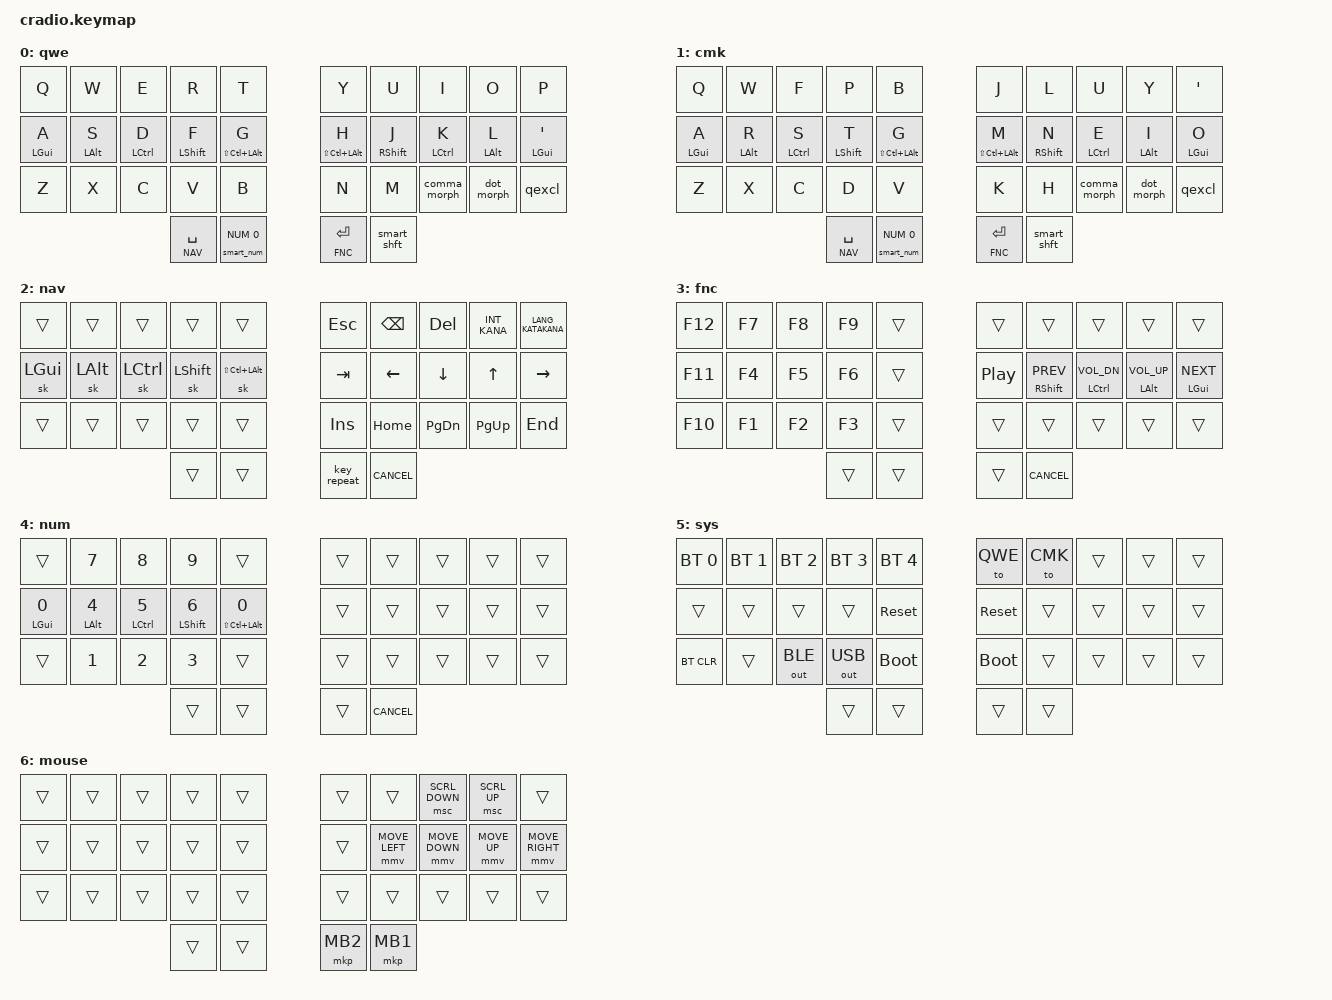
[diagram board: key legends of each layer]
// Copyright (c) 2022 The ZMK Contributors
// SPDX-License-Identifier: MIT

#include <behaviors.dtsi>
#include <dt-bindings/zmk/keys.h>
#include <dt-bindings/zmk/bt.h>
#include <dt-bindings/zmk/mouse.h>
#include <dt-bindings/zmk/outputs.h>
#include "../zmk-nodefree-config/helper.h"
#include "../zmk-nodefree-config/keypos_def/keypos_34keys.h"

/* Global settings */

#define QWE 0
#define CMK 1
#define NAV 2
#define FNC 3
#define NUM 4
#define SYS 5
#define MSE 6

#define XXX &none
#define ___ &trans

#define KEYS_L LT0 LT1 LT2 LT3 LT4 LM0 LM1 LM2 LM3 LM4 LB0 LB1 LB2 LB3 LB4  // left hand
#define KEYS_R RT0 RT1 RT2 RT3 RT4 RM0 RM1 RM2 RM3 RM4 RB0 RB1 RB2 RB3 RB4  // right hand
#define THUMBS LH1 LH0 RH0 RH1                                              // thumbs

#define QUICK_TAP_MS 175
#define MEH LS(LC(LALT))
#define KANA INT_KANA
#define KATA LANG_KATAKANA

&sk {  // sticky-key config
    release-after-ms = <900>;  // release after 0.6s
    quick-release;             // no double capitalization when rolling keys
};

&sl {  // sticky-layer config
    ignore-modifiers;          // allow chording sticky mods & layers
};

&lt {  // layer-tap config
    flavor = "balanced";
    tapping-term-ms = <200>;
    quick-tap-ms = <QUICK_TAP_MS>;
};

/* Homerow mods */

#define MAKE_HRM(NAME, HOLD, TAP, TRIGGER_POS) \
  ZMK_BEHAVIOR(NAME, hold_tap, \
      flavor = "balanced"; \
      tapping-term-ms = <280>; \
      quick-tap-ms = <QUICK_TAP_MS>; \
      require-prior-idle-ms = <150>; \
      bindings = <HOLD>, <TAP>; \
      hold-trigger-key-positions = <TRIGGER_POS>; \
      hold-trigger-on-release; \
      )
MAKE_HRM(hml, &kp, &kp, KEYS_R THUMBS)  // left-hand HRMs
MAKE_HRM(hmr, &kp, &kp, KEYS_L THUMBS)  // right-hand HRMs

/* Caps-word, num-word and smart-mouse */

// tap: sticky-shift | shift + tap/ double-tap: caps-word | hold: shift
ZMK_BEHAVIOR(smart_shft, mod_morph,
    bindings = <&sk LSHFT>, <&caps_word>;
    mods = <(MOD_LSFT)>;
)
&caps_word {  // mods deactivate caps-word, requires PR #1451
    /delete-property/ ignore-modifiers;
};

// tap: num-word | double-tap: sticky num-layer | hold: num-layer
#define SMART_NUM &smart_num NUM 0
ZMK_BEHAVIOR(smart_num, hold_tap,
    flavor = "balanced";
    tapping-term-ms = <200>;
    quick-tap-ms = <QUICK_TAP_MS>;
    bindings = <&mo>, <&num_dance>;
)
ZMK_BEHAVIOR(num_dance, tap_dance,
    tapping-term-ms = <200>;
    bindings = <&num_word>, <&sl NUM>;  // reverse this for sticky-num on single tap
)
&num_word {  // num-word, requires PR #1451
    layers = <NUM>;
    continue-list = <BSPC DEL DOT COMMA PLUS MINUS STAR FSLH EQUAL>;
};

// smart-mouse, requires PR #1366
ZMK_BEHAVIOR(smart_mouse, tri_state,
    bindings = <&tog MSE>, <&none>, <&tog MSE>;
    ignored-key-positions = <LT1 LT2 RT2 RT3 RM1 RM2 RM3 RM4 RH0 RH1>;
    ignored-layers = <MSE>;
)

/* Custom behaviors */

// tap: comma | shift + tap: semicolon | ctrl + shift + tap: <
ZMK_BEHAVIOR(comma_morph, mod_morph,
    mods = <(MOD_LSFT|MOD_RSFT)>;
    bindings = <&kp COMMA>, <&comma_inner_morph>;
)
ZMK_BEHAVIOR(comma_inner_morph, mod_morph,
    bindings = <&kp SEMICOLON>, <&kp LESS_THAN>;
    mods = <(MOD_LCTL|MOD_RCTL)>;
)

// tap: dot | shift + tap: colon | ctrl + shift + tap: >
ZMK_BEHAVIOR(dot_morph, mod_morph,
    bindings = <&kp DOT>, <&dot_inner_morph>;
    mods = <(MOD_LSFT|MOD_RSFT)>;
)
ZMK_BEHAVIOR(dot_inner_morph, mod_morph,
    bindings = <&kp COLON>, <&kp GREATER_THAN>;
    mods = <(MOD_LCTL|MOD_RCTL)>;
)

// tap: qmark | shift + tap: excl
ZMK_BEHAVIOR(qexcl, mod_morph,
    bindings = <&kp QMARK>, <&kp EXCL>;
    mods = <(MOD_LSFT|MOD_RSFT)>;
)

// tap: backspace | lshft + tap: delete | rshft + tap: shift-delete
ZMK_BEHAVIOR(bs_del, mod_morph,
    bindings = <&kp BSPC>, <&kp DEL>;
    mods = <(MOD_LSFT|MOD_RSFT)>;
    keep-mods = <MOD_RSFT>;
)

// tap: left-parenthesis | shft + tap: less-than
ZMK_BEHAVIOR(lpar_lt, mod_morph,
    bindings = <&kp LPAR>, <&kp LT>;
    mods = <(MOD_LSFT|MOD_RSFT)>;
)

// tap: right-parenthesis | shft + tap: greater-than
ZMK_BEHAVIOR(rpar_gt, mod_morph,
    bindings = <&kp RPAR>, <&kp GT>;
    mods = <(MOD_LSFT|MOD_RSFT)>;
)

// tap: copy | double-tap: cut
ZMK_BEHAVIOR(copy_cut, tap_dance,
    tapping-term-ms = <200>;
    bindings = <&kp LC(INS)>, <&kp LC(X)>;
)


// misc aliases
#define CANCEL      &kp K_CANCEL             // cancel caps-word, num-word and smart-mouse
#define PREV        &hmr RSHFT C_PREV
#define NEXT        &hmr LGUI  C_NEXT
#define VOL_DOWN    &hmr LCTRL C_VOL_DN
#define VOL_UP      &hmr LALT  C_VOL_UP

/* Mouse */

&mmv {
  acceleration-exponent = <1>;      // 1
  time-to-max-speed-ms = <1500>;    // 40
  delay-ms = <0>;                   // 0
};

&msc {
  acceleration-exponent = <1>;      // 0
  time-to-max-speed-ms = <5000>;    // 40
  delay-ms = <0>;                   // 10
};

#define ZMK_MOUSE_DEFAULT_MOVE_VAL 1250  // 600
#define ZMK_MOUSE_DEFAULT_SCRL_VAL 100    // 10

#define U_BTN1 &mkp MB1
#define U_BTN2 &mkp MB2
#define U_BTN3 &mkp MB3
#define U_MS_U &mmv MOVE_UP
#define U_MS_D &mmv MOVE_DOWN
#define U_MS_L &mmv MOVE_LEFT
#define U_MS_R &mmv MOVE_RIGHT
#define U_WH_U &msc SCRL_UP
#define U_WH_D &msc SCRL_DOWN
#define U_WH_L &msc SCRL_LEFT
#define U_WH_R &msc SCRL_RIGHT

/* Combos */

/*                KEY POSITIONS

  ╭─────────────────────╮ ╭─────────────────────╮
  │ LT4 LT3 LT2 LT1 LT0 │ │ RT0 RT1 RT2 RT3 RT4 │
  │ LM4 LM3 LM2 LM1 LM0 │ │ RM0 RM1 RM2 RM3 RM4 │
  │ LB4 LB3 LB2 LB1 LB0 │ │ RB0 RB1 RB2 RB3 RB4 │
  ╰───────────╮ LH1 LH0 │ │ RH0 RH1 ╭───────────╯
              ╰─────────╯ ╰─────────╯ */

// use require-prior-idle-ms for combos (requires PR 1387)
#undef COMBO_HOOK
#define COMBO_HOOK require-prior-idle-ms = <150>;

#define COMBO_TERM_FAST 30
#define COMBO_TERM_SLOW 30

// make homerow combos tap-only (so HRMs can be chorded instantaneously)
#define HRC_TAB    &hml         LA(LCTRL) TAB
#define HRC_REPEAT &hml_repeat  LS(LCTRL) 0
#define HRC_LPAR   &hmr_lpar_lt RS(LCTRL) 0
#define HRC_RPAR   &hmr_rpar_gt LA(LCTRL) 0
MAKE_HRM(hml_repeat, &kp, &key_repeat, KEYS_R THUMBS)  // used for HRM-combo
MAKE_HRM(hmr_lpar_lt, &kp, &lpar_lt, KEYS_L THUMBS)    // "    "   "   "
MAKE_HRM(hmr_rpar_gt, &kp, &rpar_gt, KEYS_L THUMBS)    // "    "   "   "

/* Horizontal combos - left hand */
ZMK_COMBO(esc,   &kp ESC,       LT3 LT2,     QWE CMK NAV NUM, COMBO_TERM_FAST)
ZMK_COMBO(mouse, &smart_mouse,  LT2 LT1,     QWE CMK NAV NUM, COMBO_TERM_FAST)
//ZMK_COMBO(mouse, &smart_mouse,  LT3 LT1,     QWE CMK NAV NUM, COMBO_TERM_FAST)

ZMK_COMBO(tab,   HRC_TAB,       LM3 LM2,     QWE CMK NAV NUM, COMBO_TERM_FAST)
ZMK_COMBO(repeat,HRC_REPEAT,    LM2 LM1,     QWE CMK NAV NUM, COMBO_TERM_FAST)

ZMK_COMBO(cut,   &kp LC(X),     LB3 LB1,     QWE CMK NAV NUM, COMBO_TERM_FAST)
ZMK_COMBO(copy,  &kp LC(INS),   LB3 LB2,     QWE CMK NAV NUM, COMBO_TERM_FAST)
ZMK_COMBO(paste, &kp LS(INS),   LB2 LB1,     QWE CMK NAV NUM, COMBO_TERM_FAST)

/* Horizontal combos - right hand */
ZMK_COMBO(bspc,  &kp BSPC,      RT1 RT2,     QWE CMK NAV NUM, COMBO_TERM_FAST)
ZMK_COMBO(del,   &kp DEL,       RT2 RT3,     QWE CMK NAV NUM, COMBO_TERM_FAST)

ZMK_COMBO(lpar,  HRC_LPAR,      RM1 RM2,     QWE CMK     NUM, COMBO_TERM_FAST)
ZMK_COMBO(rpar,  HRC_RPAR,      RM2 RM3,     QWE CMK     NUM, COMBO_TERM_FAST)
ZMK_COMBO(lt,    &kp LT,        RM1 RM2,             NAV    , COMBO_TERM_FAST)
ZMK_COMBO(gt,    &kp GT,        RM2 RM3,             NAV    , COMBO_TERM_FAST)

ZMK_COMBO(lbkt,  &kp LBKT,      RB1 RB2,     QWE CMK     NUM, COMBO_TERM_FAST)
ZMK_COMBO(rbkt,  &kp RBKT,      RB2 RB3,     QWE CMK     NUM, COMBO_TERM_FAST)
ZMK_COMBO(lbrc,  &kp LBRC,      RB1 RB2,             NAV    , COMBO_TERM_FAST)
ZMK_COMBO(rbrc,  &kp RBRC,      RB2 RB3,             NAV    , COMBO_TERM_FAST)

/* Vertical combos - left hand */
ZMK_COMBO(at,    &kp AT,        LT3 LM3,     QWE CMK NAV NUM, COMBO_TERM_SLOW)
ZMK_COMBO(hash,  &kp HASH,      LT2 LM2,     QWE CMK NAV NUM, COMBO_TERM_SLOW)
ZMK_COMBO(dllr,  &kp DLLR,      LT1 LM1,     QWE CMK NAV NUM, COMBO_TERM_SLOW)
ZMK_COMBO(prcnt, &kp PRCNT,     LT0 LM0,     QWE CMK NAV NUM, COMBO_TERM_SLOW)

ZMK_COMBO(grave, &kp GRAVE,     LM3 LB3,     QWE CMK NAV NUM, COMBO_TERM_SLOW)
ZMK_COMBO(bslh,  &kp BSLH,      LM2 LB2,     QWE CMK NAV NUM, COMBO_TERM_SLOW)
ZMK_COMBO(equal, &kp EQUAL,     LM1 LB1,     QWE CMK NAV NUM, COMBO_TERM_SLOW)
ZMK_COMBO(tilde, &kp TILDE,     LM0 LB0,     QWE CMK NAV NUM, COMBO_TERM_SLOW)

/* Vertical combos - right hand */
ZMK_COMBO(caret, &kp CARET,     RT0 RM0,     QWE CMK NAV NUM, COMBO_TERM_SLOW)
ZMK_COMBO(plus,  &kp PLUS,      RT1 RM1,     QWE CMK NAV NUM, COMBO_TERM_SLOW)
ZMK_COMBO(star,  &kp STAR,      RT2 RM2,     QWE CMK NAV NUM, COMBO_TERM_SLOW)
ZMK_COMBO(amps,  &kp AMPS,      RT3 RM3,     QWE CMK NAV NUM, COMBO_TERM_SLOW)

ZMK_COMBO(under, &kp UNDER,     RM0 RB0,     QWE CMK NAV NUM, COMBO_TERM_SLOW)
ZMK_COMBO(minus, &kp MINUS,     RM1 RB1,     QWE CMK NAV NUM, COMBO_TERM_SLOW)
ZMK_COMBO(fslh,  &kp FSLH,      RM2 RB2,     QWE CMK NAV NUM, COMBO_TERM_SLOW)
ZMK_COMBO(pipe,  &kp PIPE,      RM3 RB3,     QWE CMK NAV NUM, COMBO_TERM_SLOW)

/* Keymap */

ZMK_CONDITIONAL_LAYER(FNC NUM, SYS)  // FN + NUM --> SYS

ZMK_LAYER(qwe,
//╭─────────────┬─────────────┬─────────────┬─────────────┬─────────────╮ ╭─────────────┬─────────────┬─────────────┬─────────────┬─────────────╮
    &kp Q         &kp W         &kp E         &kp R         &kp T           &kp Y         &kp U         &kp I         &kp O         &kp P        
//├─────────────┼─────────────┼─────────────┼─────────────┼─────────────┤ ├─────────────┼─────────────┼─────────────┼─────────────┼─────────────┤
    &hml LGUI A   &hml LALT S   &hml LCTRL D  &hml LSHFT F  &hml MEH G      &hmr MEH H    &hmr RSHFT J  &hmr LCTRL K  &hmr LALT L   &hmr LGUI SQT
//├─────────────┼─────────────┼─────────────┼─────────────┼─────────────┤ ├─────────────┼─────────────┼─────────────┼─────────────┼─────────────┤
    &kp Z         &kp X         &kp C         &kp V         &kp B           &kp N         &kp M         &comma_morph  &dot_morph    &qexcl       
//╰─────────────┼─────────────┴─────────────┼─────────────┼─────────────┤ ├─────────────┼─────────────┼─────────────┴───────────────────────────╯
                                              &lt NAV SPACE SMART_NUM       &lt FNC RET   &smart_shft                                            
//                                          ╰─────────────┴─────────────╯ ╰─────────────┴─────────────╯                                          
)

ZMK_LAYER(cmk,
//╭─────────────┬─────────────┬─────────────┬─────────────┬─────────────╮ ╭─────────────┬─────────────┬─────────────┬─────────────┬─────────────╮
    &kp Q         &kp W         &kp F         &kp P         &kp B           &kp J         &kp L         &kp U         &kp Y         &kp SQT      
//├─────────────┼─────────────┼─────────────┼─────────────┼─────────────┤ ├─────────────┼─────────────┼─────────────┼─────────────┼─────────────┤
    &hml LGUI A   &hml LALT R   &hml LCTRL S  &hml LSHFT T  &hml MEH G      &hmr MEH M    &hmr RSHFT N  &hmr LCTRL E  &hmr LALT I   &hmr LGUI O  
//├─────────────┼─────────────┼─────────────┼─────────────┼─────────────┤ ├─────────────┼─────────────┼─────────────┼─────────────┼─────────────┤
    &kp Z         &kp X         &kp C         &kp D         &kp V           &kp K         &kp H         &comma_morph  &dot_morph    &qexcl       
//╰─────────────┼─────────────┴─────────────┼─────────────┼─────────────┤ ├─────────────┼─────────────┼─────────────┴───────────────────────────╯
                                              &lt NAV SPACE SMART_NUM       &lt FNC RET   &smart_shft                                            
//                                          ╰─────────────┴─────────────╯ ╰─────────────┴─────────────╯                                          
)

ZMK_LAYER(nav,
//╭─────────────┬─────────────┬─────────────┬─────────────┬─────────────╮ ╭─────────────┬─────────────┬─────────────┬─────────────┬─────────────╮
    ___           ___           ___           ___           ___             &kp ESC       &kp BSPC      &kp DEL       &kp KANA      &kp KATA     
//├─────────────┼─────────────┼─────────────┼─────────────┼─────────────┤ ├─────────────┼─────────────┼─────────────┼─────────────┼─────────────┤
    &sk LGUI      &sk LALT      &sk LCTRL     &sk LSHFT     &sk MEH         &kp TAB       &kp LEFT      &kp DOWN      &kp UP        &kp RIGHT    
//├─────────────┼─────────────┼─────────────┼─────────────┼─────────────┤ ├─────────────┼─────────────┼─────────────┼─────────────┼─────────────┤
    ___           ___           ___           ___           ___             &kp INS       &kp HOME      &kp PG_DN     &kp PG_UP     &kp END      
//╰─────────────┼─────────────┴─────────────┼─────────────┼─────────────┤ ├─────────────┼─────────────┼─────────────┴───────────────────────────╯
                                              ___           ___             &key_repeat   CANCEL                                                 
//                                          ╰─────────────┴─────────────╯ ╰─────────────┴─────────────╯                                          
)

ZMK_LAYER(fnc,
//╭─────────────┬─────────────┬─────────────┬─────────────┬─────────────╮ ╭─────────────┬─────────────┬─────────────┬─────────────┬─────────────╮
    &kp F12       &kp F7        &kp F8        &kp F9        ___             ___           ___           ___           ___           ___          
//├─────────────┼─────────────┼─────────────┼─────────────┼─────────────┤ ├─────────────┼─────────────┼─────────────┼─────────────┼─────────────┤
    &kp F11       &kp F4        &kp F5        &kp F6        ___             &kp C_PP      PREV          VOL_DOWN      VOL_UP        NEXT         
//├─────────────┼─────────────┼─────────────┼─────────────┼─────────────┤ ├─────────────┼─────────────┼─────────────┼─────────────┼─────────────┤
    &kp F10       &kp F1        &kp F2        &kp F3        ___             ___           ___           ___           ___           ___          
//╰─────────────┼─────────────┴─────────────┼─────────────┼─────────────┤ ├─────────────┼─────────────┼─────────────┴───────────────────────────╯
                                              ___           ___             ___           CANCEL                                                 
//                                          ╰─────────────┴─────────────╯ ╰─────────────┴─────────────╯                                          
)

ZMK_LAYER(num,
//╭─────────────┬─────────────┬─────────────┬─────────────┬─────────────╮ ╭─────────────┬─────────────┬─────────────┬─────────────┬─────────────╮
    ___           &kp N7        &kp N8        &kp N9        ___             ___           ___           ___           ___           ___          
//├─────────────┼─────────────┼─────────────┼─────────────┼─────────────┤ ├─────────────┼─────────────┼─────────────┼─────────────┼─────────────┤
    &hml LGUI N0  &hml LALT N4  &hml LCTRL N5 &hml LSHFT N6 &hml MEH N0     ___           ___           ___           ___           ___          
//├─────────────┼─────────────┼─────────────┼─────────────┼─────────────┤ ├─────────────┼─────────────┼─────────────┼─────────────┼─────────────┤
    ___           &kp N1        &kp N2        &kp N3        ___             ___           ___           ___           ___           ___          
//╰─────────────┼─────────────┴─────────────┼─────────────┼─────────────┤ ├─────────────┼─────────────┼─────────────┴───────────────────────────╯
                                              ___           ___             ___           CANCEL                                                 
//                                          ╰─────────────┴─────────────╯ ╰─────────────┴─────────────╯                                          
)

ZMK_LAYER(sys,
//╭─────────────┬─────────────┬─────────────┬─────────────┬─────────────╮ ╭─────────────┬─────────────┬─────────────┬─────────────┬─────────────╮
    &bt BT_SEL 0  &bt BT_SEL 1  &bt BT_SEL 2  &bt BT_SEL 3  &bt BT_SEL 4    &to QWE       &to CMK       ___           ___           ___          
//├─────────────┼─────────────┼─────────────┼─────────────┼─────────────┤ ├─────────────┼─────────────┼─────────────┼─────────────┼─────────────┤
    ___           ___           ___           ___           &sys_reset      &sys_reset    ___           ___           ___           ___          
//├─────────────┼─────────────┼─────────────┼─────────────┼─────────────┤ ├─────────────┼─────────────┼─────────────┼─────────────┼─────────────┤
    &bt BT_CLR    ___           &out OUT_BLE  &out OUT_USB  &bootloader     &bootloader   ___           ___           ___           ___          
//╰─────────────┼─────────────┴─────────────┼─────────────┼─────────────┤ ├─────────────┼─────────────┼─────────────┴───────────────────────────╯
                                              ___           ___             ___           ___                                                    
//                                          ╰─────────────┴─────────────╯ ╰─────────────┴─────────────╯                                          
)

ZMK_LAYER(mouse,
//╭─────────────┬─────────────┬─────────────┬─────────────┬─────────────╮ ╭─────────────┬─────────────┬─────────────┬─────────────┬─────────────╮
    ___           ___           ___           ___           ___             ___           ___           U_WH_D        U_WH_U        ___          
//├─────────────┼─────────────┼─────────────┼─────────────┼─────────────┤ ├─────────────┼─────────────┼─────────────┼─────────────┼─────────────┤
    ___           ___           ___           ___           ___             ___           U_MS_L        U_MS_D        U_MS_U        U_MS_R       
//├─────────────┼─────────────┼─────────────┼─────────────┼─────────────┤ ├─────────────┼─────────────┼─────────────┼─────────────┼─────────────┤
    ___           ___           ___           ___           ___             ___           ___           ___            ___          ___          
//╰─────────────┼─────────────┴─────────────┼─────────────┼─────────────┤ ├─────────────┼─────────────┼─────────────┴───────────────────────────╯
                                              ___           ___             U_BTN2        U_BTN1                                                 
//                                          ╰─────────────┴─────────────╯ ╰─────────────┴─────────────╯                                          
)
